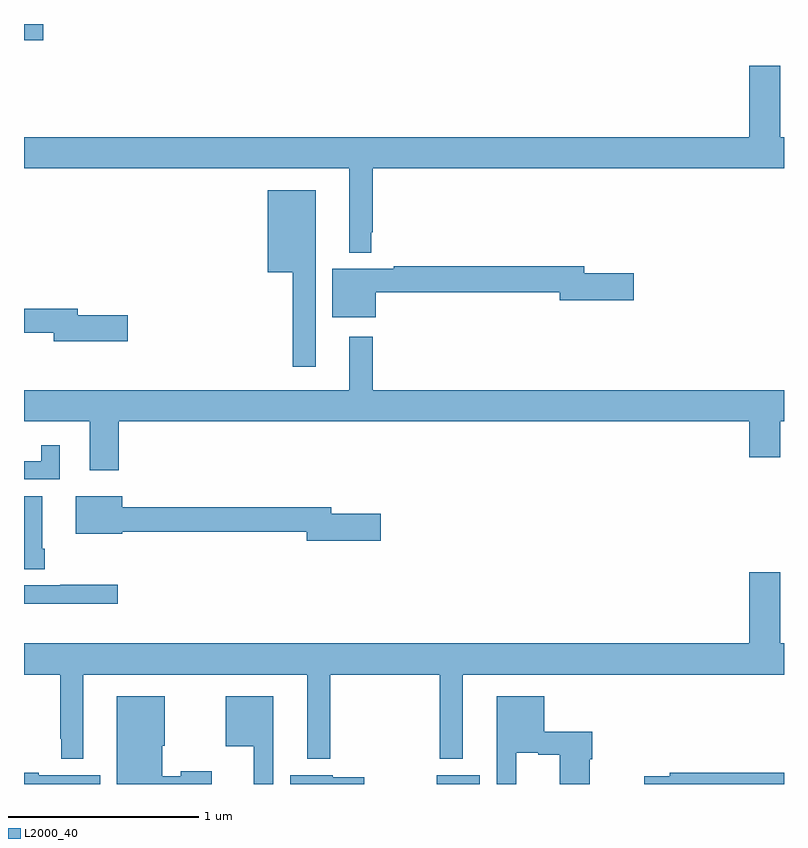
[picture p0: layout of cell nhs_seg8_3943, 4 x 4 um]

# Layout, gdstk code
import gdstk
lib = gdstk.Library(unit=1e-6, precision=1e-09)
def R(c, l, rs):  # rectangles x0, y0, x1, y1
    for r in rs: c.add(gdstk.rectangle(r[:2], r[2:], *l))
def P(c, l, *ps):  # polygons
    for p in ps: c.add(gdstk.Polygon(p, *l))
L2000_40 = (2000, 40)

nhs_seg8_3943 = lib.new_cell('nhs_seg8_3943')
R(nhs_seg8_3943, L2000_40, [(355.172,1139.9,355.399,1139.947), (353,1143.815,353.101,1143.9)])
P(nhs_seg8_3943, L2000_40, [(354.828,1142.803),(354.835,1142.803),(354.835,1143.14),(357,1143.14),(357,1143.304),(356.98,1143.304),(356.98,1143.679),(356.816,1143.679),(356.816,1143.304),(353,1143.304),(353,1143.14),(354.713,1143.14),(354.713,1142.696),(354.828,1142.696)],
  [(354.535,1143.025),(354.284,1143.025),(354.284,1142.594),(354.414,1142.594),(354.414,1142.097),(354.535,1142.097)],
  [(354.85,1142.488),(355.82,1142.488),(355.82,1142.446),(356.209,1142.446),(356.209,1142.588),(355.948,1142.588),(355.948,1142.624),(354.946,1142.624),(354.946,1142.611),(354.623,1142.611),(354.623,1142.357),(354.85,1142.357)],
  [(353.545,1142.366),(353.284,1142.366),(353.284,1142.402),(353,1142.402),(353,1142.274),(353.156,1142.274),(353.156,1142.231),(353.545,1142.231)],
  [(353.498,1141.808),(356.816,1141.808),(356.816,1141.62),(356.98,1141.62),(356.98,1141.808),(357,1141.808),(357,1141.972),(354.835,1141.972),(354.835,1142.254),(354.713,1142.254),(354.713,1141.972),(353,1141.972),(353,1141.808),(353.345,1141.808),(353.345,1141.551),(353.498,1141.551)],
  [(353.188,1141.684),(353.09,1141.684),(353.09,1141.599),(353,1141.599),(353,1141.503),(353.188,1141.503)],
  [(354.877,1141.323),(354.616,1141.323),(354.616,1141.357),(353.518,1141.357),(353.518,1141.414),(353.273,1141.414),(353.273,1141.217),(353.518,1141.217),(353.518,1141.228),(354.488,1141.228),(354.488,1141.181),(354.877,1141.181)],
  [(353.108,1141.138),(353.095,1141.138),(353.095,1141.414),(353,1141.414),(353,1141.03),(353.108,1141.03)],
  [(353.311,1140.476),(354.491,1140.476),(354.491,1140.032),(354.613,1140.032),(354.613,1140.476),(355.188,1140.476),(355.188,1140.032),(355.309,1140.032),(355.309,1140.476),(357,1140.476),(357,1140.64),(356.98,1140.64),(356.98,1141.015),(356.816,1141.015),(356.816,1140.64),(353,1140.64),(353,1140.476),(353.19,1140.476),(353.19,1140.139),(353.196,1140.139),(353.196,1140.032),(353.311,1140.032)],
  [(353.494,1140.95),(353.191,1140.95),(353.191,1140.945),(353,1140.945),(353,1140.848),(353.494,1140.848)],
  [(355.591,1140.065),(355.706,1140.065),(355.706,1140.053),(355.82,1140.053),(355.82,1139.9),(355.978,1139.9),(355.978,1140.029),(355.991,1140.029),(355.991,1140.175),(355.738,1140.175),(355.738,1140.361),(355.487,1140.361),(355.487,1139.9),(355.591,1139.9)],
  [(353.989,1139.968),(353.826,1139.968),(353.826,1139.941),(353.728,1139.941),(353.728,1140.102),(353.74,1140.102),(353.74,1140.361),(353.489,1140.361),(353.489,1139.9),(353.989,1139.9)],
  [(354.313,1140.361),(354.062,1140.361),(354.062,1140.098),(354.209,1140.098),(354.209,1139.9),(354.313,1139.9)],
  [(357,1139.96),(356.398,1139.96),(356.398,1139.94),(356.264,1139.94),(356.264,1139.9),(357,1139.9)],
  [(353.401,1139.947),(353.078,1139.947),(353.078,1139.96),(353,1139.96),(353,1139.9),(353.401,1139.9)],
  [(354.79,1139.936),(354.624,1139.936),(354.624,1139.947),(354.401,1139.947),(354.401,1139.9),(354.79,1139.9)])

lib.write_gds('nhs_seg8_3943.gds')
